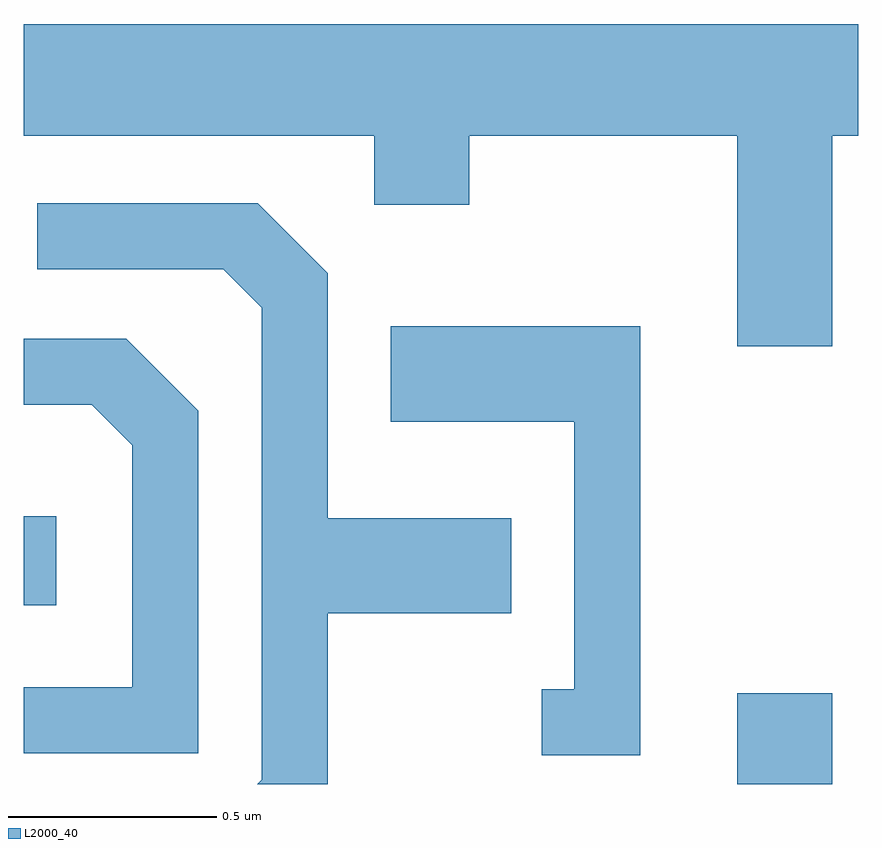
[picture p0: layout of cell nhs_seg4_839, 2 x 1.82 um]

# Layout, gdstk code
import gdstk
lib = gdstk.Library(unit=1e-6, precision=1e-09)
def R(c, l, rs):  # rectangles x0, y0, x1, y1
    for r in rs: c.add(gdstk.rectangle(r[:2], r[2:], *l))
def P(c, l, *ps):  # polygons
    for p in ps: c.add(gdstk.Polygon(p, *l))
L2000_40 = (2000, 40)

nhs_seg4_839 = lib.new_cell('nhs_seg4_839')
R(nhs_seg4_839, L2000_40, [(193.321,1270.982,193.549,1271.199), (191.611,1271.411,191.689,1271.624)])
P(nhs_seg4_839, L2000_40, [(193.549,1272.536),(193.611,1272.536),(193.611,1272.804),(191.611,1272.804),(191.611,1272.536),(192.451,1272.536),(192.451,1272.371),(192.679,1272.371),(192.679,1272.536),(193.321,1272.536),(193.321,1272.031),(193.549,1272.031)],
  [(192.339,1271.391),(192.779,1271.391),(192.779,1271.619),(192.339,1271.619),(192.339,1272.207),(192.172,1272.374),(191.643,1272.374),(191.643,1272.216),(192.089,1272.216),(192.181,1272.124),(192.181,1270.992),(192.171,1270.982),(192.339,1270.982)],
  [(193.089,1272.079),(192.491,1272.079),(192.491,1271.851),(192.931,1271.851),(192.931,1271.209),(192.853,1271.209),(192.853,1271.051),(193.089,1271.051)],
  [(192.029,1271.877),(191.857,1272.049),(191.611,1272.049),(191.611,1271.891),(191.774,1271.891),(191.871,1271.794),(191.871,1271.214),(191.611,1271.214),(191.611,1271.056),(192.029,1271.056)])

lib.write_gds('nhs_seg4_839.gds')
